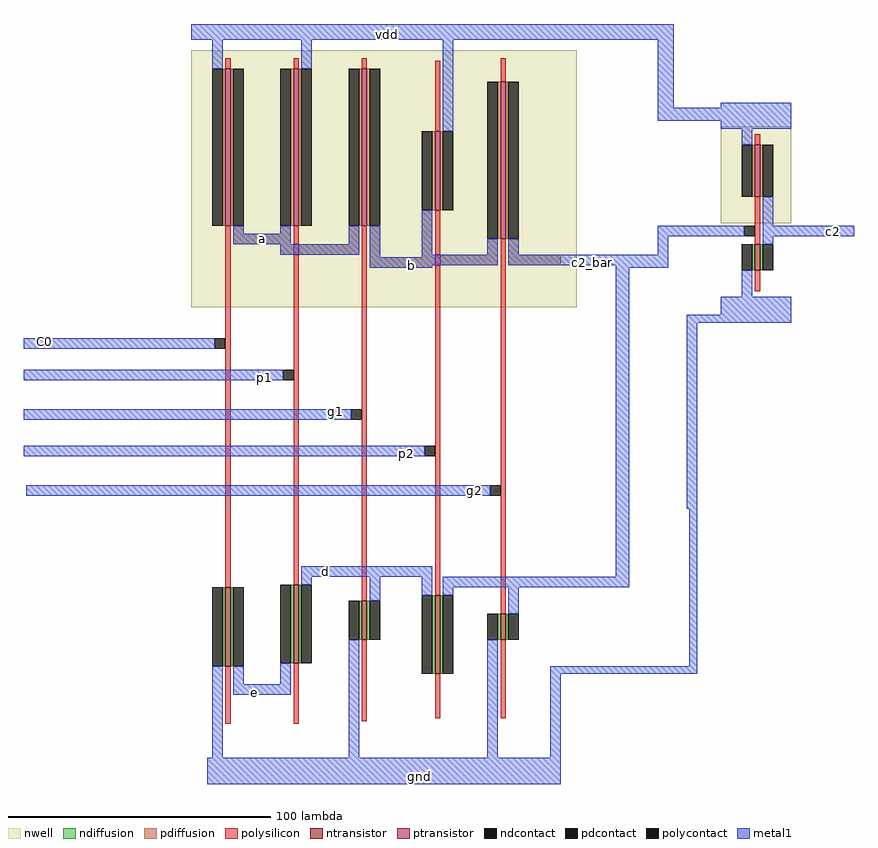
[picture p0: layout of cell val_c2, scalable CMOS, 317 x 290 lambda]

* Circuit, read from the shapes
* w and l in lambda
.subckt val_c2 C0 a b c2 c2_bar d e g1 g2 gnd p1 p2 vdd
M1 e C0 gnd VSUBS nfet w=30 l=2
M2 d p1 e VSUBS nfet w=30 l=2
M3 d g1 gnd VSUBS nfet w=15 l=2
M4 c2_bar p2 d VSUBS nfet w=30 l=2
M5 c2_bar g2 gnd VSUBS nfet w=10 l=2
M6 c2 c2_bar gnd VSUBS nfet w=10 l=2
M7 a C0 vdd n1 pfet w=60 l=2
M8 a p1 a n1 pfet w=4 l=2
M9 vdd p1 a n1 pfet w=60 l=2
M10 b g1 a n1 pfet w=60 l=2
M11 b p2 b n1 pfet w=4 l=2
M12 vdd p2 b n1 pfet w=30 l=2
M13 c2_bar g2 b n1 pfet w=60 l=2
M14 c2 c2_bar vdd n2 pfet w=20 l=2
.ends

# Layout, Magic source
magic
tech scmos
<< nwell >>
rect -49 -15 98 83
<< ntransistor >>
rect -36 -152 -34 -122
rect -10 -151 -8 -121
rect 16 -142 18 -127
rect 44 -155 46 -125
rect 69 -142 71 -132
<< ptransistor >>
rect -36 16 -34 76
rect -10 16 -8 76
rect 16 16 18 76
rect -10 5 -8 9
rect 44 22 46 52
rect 69 11 71 71
rect 44 1 46 5
<< ndiffusion >>
rect -37 -152 -36 -122
rect -34 -152 -33 -122
rect -11 -151 -10 -121
rect -8 -151 -7 -121
rect 15 -142 16 -127
rect 18 -142 19 -127
rect 43 -155 44 -125
rect 46 -155 47 -125
rect 68 -142 69 -132
rect 71 -142 72 -132
<< pdiffusion >>
rect -37 16 -36 76
rect -34 16 -33 76
rect -33 13 -29 16
rect -11 16 -10 76
rect -8 16 -7 76
rect 15 16 16 76
rect 18 16 19 76
rect -15 13 -11 16
rect -33 9 -11 13
rect 11 9 15 16
rect -15 5 -10 9
rect -8 5 15 9
rect 19 4 23 16
rect 43 22 44 52
rect 46 22 47 52
rect 39 5 43 22
rect 68 11 69 71
rect 71 11 72 71
rect 64 5 68 11
rect 39 4 44 5
rect 19 1 44 4
rect 46 1 68 5
rect 19 0 43 1
rect 72 5 76 11
rect 72 1 92 5
<< ndcontact >>
rect -41 -152 -37 -122
rect -33 -152 -29 -122
rect -15 -151 -11 -121
rect -7 -151 -3 -121
rect 11 -142 15 -127
rect 19 -142 23 -127
rect 39 -155 43 -125
rect 47 -155 51 -125
rect 64 -142 68 -132
rect 72 -142 76 -132
<< pdcontact >>
rect -41 16 -37 76
rect -33 16 -29 76
rect -15 16 -11 76
rect -7 16 -3 76
rect 11 16 15 76
rect 19 16 23 76
rect 39 22 43 52
rect 47 22 51 52
rect 64 11 68 71
rect 72 11 76 71
<< polysilicon >>
rect -36 76 -34 80
rect -10 76 -8 80
rect 16 76 18 80
rect -36 -122 -34 16
rect 44 52 46 79
rect 69 71 71 80
rect -10 9 -8 16
rect -10 -121 -8 5
rect 16 -127 18 16
rect 44 5 46 22
rect 44 -125 46 1
rect -36 -174 -34 -152
rect -10 -174 -8 -151
rect 16 -173 18 -142
rect 69 -132 71 11
rect 44 -172 46 -155
rect 69 -172 71 -142
<< polycontact >>
rect -40 -31 -36 -27
rect -14 -43 -10 -39
rect 12 -58 16 -54
rect 40 -72 44 -68
rect 65 -87 69 -83
<< metal1 >>
rect -49 87 135 93
rect -41 76 -37 87
rect -7 76 -3 87
rect -33 13 -29 16
rect -15 13 -11 16
rect -33 9 -11 13
rect 11 9 15 16
rect -15 5 15 9
rect 47 52 51 87
rect 19 4 23 16
rect 39 5 43 22
rect 64 5 68 11
rect 39 4 68 5
rect 19 1 68 4
rect 129 61 135 87
rect 129 56 153 61
rect 72 5 76 11
rect 129 12 146 16
rect 192 12 204 16
rect 129 5 133 12
rect 72 1 133 5
rect 19 0 43 1
rect 113 0 133 1
rect -113 -31 -40 -27
rect -113 -43 -14 -39
rect -113 -58 12 -54
rect -113 -72 40 -68
rect -112 -87 65 -83
rect -7 -118 43 -114
rect 113 -118 118 0
rect 140 -21 153 -18
rect 140 -92 144 -21
rect -7 -121 -3 -118
rect -41 -187 -37 -152
rect -33 -159 -29 -152
rect 19 -127 23 -118
rect 39 -125 43 -118
rect -15 -159 -11 -151
rect -33 -163 -11 -159
rect 11 -187 15 -142
rect 47 -122 118 -118
rect 47 -125 51 -122
rect 72 -132 76 -122
rect 64 -187 68 -142
rect 141 -152 144 -92
rect 88 -155 144 -152
rect 88 -187 92 -155
rect -43 -197 92 -187
use inv  inv_0
transform 1 0 153 0 1 34
box -7 -55 39 29
<< labels >>
rlabel metal1 -22 11 -22 11 1 a
rlabel metal1 104 2 104 2 1 c2_bar
rlabel metal1 196 14 196 14 1 c2
rlabel metal1 35 1 35 1 1 b
rlabel metal1 26 89 26 89 5 vdd
rlabel metal1 38 -194 38 -194 1 gnd
rlabel metal1 -25 -162 -25 -162 1 e
rlabel metal1 2 -116 2 -116 1 d
rlabel metal1 6 -55 6 -55 1 g1
rlabel metal1 -21 -42 -21 -42 1 p1
rlabel metal1 -105 -28 -105 -28 1 C0
rlabel metal1 59 -85 59 -85 1 g2
rlabel metal1 33 -71 33 -71 1 p2
<< end >>

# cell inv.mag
magic
tech scmos
<< nwell >>
rect 0 -17 27 20
<< ntransistor >>
rect 13 -35 15 -25
<< ptransistor >>
rect 13 -7 15 13
<< ndiffusion >>
rect 12 -35 13 -25
rect 15 -35 16 -25
<< pdiffusion >>
rect 12 -7 13 13
rect 15 -7 16 13
<< ndcontact >>
rect 8 -35 12 -25
rect 16 -35 20 -25
<< pdcontact >>
rect 8 -7 12 13
rect 16 -7 20 13
<< polysilicon >>
rect 13 13 15 17
rect 13 -25 15 -7
rect 13 -43 15 -35
<< polycontact >>
rect 9 -22 13 -18
<< metal1 >>
rect 0 19 27 29
rect 8 13 12 19
rect 16 -18 20 -7
rect -7 -22 9 -18
rect 16 -22 39 -18
rect 16 -25 20 -22
rect 8 -45 12 -35
rect 0 -55 27 -45
<< labels >>
rlabel metal1 13 25 13 25 5 vdd
rlabel metal1 20 -48 20 -48 1 gnd
rlabel metal1 2 -20 2 -20 1 b
rlabel metal1 29 -20 29 -20 1 Y
<< end >>
